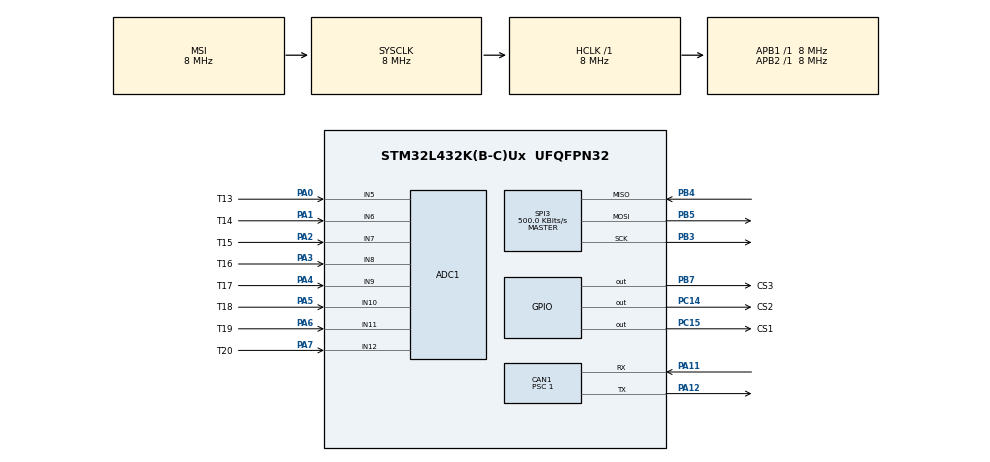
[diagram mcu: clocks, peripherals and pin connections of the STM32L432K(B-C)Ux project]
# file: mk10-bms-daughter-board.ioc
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ADC1.Channel-1\#ChannelRegularConversion=ADC_CHANNEL_5
ADC1.Channel-2\#ChannelRegularConversion=ADC_CHANNEL_6
ADC1.Channel-3\#ChannelRegularConversion=ADC_CHANNEL_7
ADC1.Channel-4\#ChannelRegularConversion=ADC_CHANNEL_8
ADC1.Channel-5\#ChannelRegularConversion=ADC_CHANNEL_9
ADC1.Channel-6\#ChannelRegularConversion=ADC_CHANNEL_10
ADC1.Channel-7\#ChannelRegularConversion=ADC_CHANNEL_11
ADC1.Channel-8\#ChannelRegularConversion=ADC_CHANNEL_12
ADC1.ContinuousConvMode=DISABLE
ADC1.DMAContinuousRequests=DISABLE
ADC1.EOCSelection=ADC_EOC_SINGLE_CONV
ADC1.NbrOfConversion=8
ADC1.NbrOfConversionFlag=1
ADC1.OffsetNumber-1\#ChannelRegularConversion=ADC_OFFSET_NONE
ADC1.OffsetNumber-2\#ChannelRegularConversion=ADC_OFFSET_NONE
ADC1.OffsetNumber-3\#ChannelRegularConversion=ADC_OFFSET_NONE
ADC1.OffsetNumber-4\#ChannelRegularConversion=ADC_OFFSET_NONE
ADC1.OffsetNumber-5\#ChannelRegularConversion=ADC_OFFSET_NONE
ADC1.OffsetNumber-6\#ChannelRegularConversion=ADC_OFFSET_NONE
ADC1.OffsetNumber-7\#ChannelRegularConversion=ADC_OFFSET_NONE
ADC1.OffsetNumber-8\#ChannelRegularConversion=ADC_OFFSET_NONE
ADC1.Rank-1\#ChannelRegularConversion=1
ADC1.Rank-2\#ChannelRegularConversion=2
ADC1.Rank-3\#ChannelRegularConversion=3
ADC1.Rank-4\#ChannelRegularConversion=4
ADC1.Rank-5\#ChannelRegularConversion=5
ADC1.Rank-6\#ChannelRegularConversion=6
ADC1.Rank-7\#ChannelRegularConversion=7
ADC1.Rank-8\#ChannelRegularConversion=8
ADC1.SamplingTime-1\#ChannelRegularConversion=ADC_SAMPLETIME_2CYCLES_5
ADC1.SamplingTime-2\#ChannelRegularConversion=ADC_SAMPLETIME_2CYCLES_5
ADC1.SamplingTime-3\#ChannelRegularConversion=ADC_SAMPLETIME_2CYCLES_5
ADC1.SamplingTime-4\#ChannelRegularConversion=ADC_SAMPLETIME_2CYCLES_5
ADC1.SamplingTime-5\#ChannelRegularConversion=ADC_SAMPLETIME_2CYCLES_5
ADC1.SamplingTime-6\#ChannelRegularConversion=ADC_SAMPLETIME_2CYCLES_5
ADC1.SamplingTime-7\#ChannelRegularConversion=ADC_SAMPLETIME_2CYCLES_5
ADC1.SamplingTime-8\#ChannelRegularConversion=ADC_SAMPLETIME_2CYCLES_5
ADC1.master=1
CAN1.BS1=CAN_BS1_13TQ
CAN1.BS2=CAN_BS2_2TQ
CAN1.CalculateBaudRate=500000
CAN1.CalculateTimeBit=2000
CAN1.CalculateTimeQuantum=125.0
CAN1.Prescaler=1
Dma.ADC1.0.Direction=DMA_PERIPH_TO_MEMORY
Dma.ADC1.0.Instance=DMA1_Channel1
Dma.ADC1.0.MemDataAlignment=DMA_MDATAALIGN_HALFWORD
Dma.ADC1.0.MemInc=DMA_MINC_ENABLE
Dma.ADC1.0.Mode=DMA_CIRCULAR
Dma.ADC1.0.PeriphDataAlignment=DMA_PDATAALIGN_HALFWORD
Dma.ADC1.0.PeriphInc=DMA_PINC_DISABLE
Dma.ADC1.0.Priority=DMA_PRIORITY_LOW
Dma.Request0=ADC1
Mcu.Family=STM32L4
Mcu.Name=STM32L432K(B-C)Ux
Mcu.Package=UFQFPN32
NVIC.DMA1_Channel1_IRQn=true\:0\:0\:false\:false\:true\:false\:true\:true
NVIC.PriorityGroup=NVIC_PRIORITYGROUP_4
PA0.GPIO_Label=T13
PA0.Signal=ADCx_IN5
PA1.GPIO_Label=T14
PA1.Signal=ADCx_IN6
PA11.GPIO_PuPd=GPIO_PULLUP
PA11.Mode=CAN_Activate
PA11.Signal=CAN1_RX
PA12.Mode=CAN_Activate
PA12.Signal=CAN1_TX
PA2.GPIO_Label=T15
PA2.Signal=ADCx_IN7
PA3.GPIO_Label=T16
PA3.Signal=ADCx_IN8
PA4.GPIO_Label=T17
PA4.Signal=ADCx_IN9
PA5.GPIO_Label=T18
PA5.Signal=ADCx_IN10
PA6.GPIO_Label=T19
PA6.Signal=ADCx_IN11
PA7.GPIO_Label=T20
PA7.Signal=ADCx_IN12
PB3\ (JTDO-TRACESWO).Mode=Full_Duplex_Master
PB3\ (JTDO-TRACESWO).Signal=SPI3_SCK
PB4\ (NJTRST).Mode=Full_Duplex_Master
PB4\ (NJTRST).Signal=SPI3_MISO
PB5.Mode=Full_Duplex_Master
PB5.Signal=SPI3_MOSI
PB7.GPIO_Label=CS3
PB7.PinState=GPIO_PIN_SET
PB7.Signal=GPIO_Output
PC14-OSC32_IN\ (PC14).GPIO_Label=CS2
PC14-OSC32_IN\ (PC14).PinState=GPIO_PIN_SET
PC14-OSC32_IN\ (PC14).Signal=GPIO_Output
PC15-OSC32_OUT\ (PC15).GPIO_Label=CS1
PC15-OSC32_OUT\ (PC15).PinState=GPIO_PIN_SET
PC15-OSC32_OUT\ (PC15).Signal=GPIO_Output
ProjectManager.HeapSize=0x200
ProjectManager.StackSize=0x400
ProjectManager.TargetToolchain=STM32CubeIDE
RCC.ADCFreq_Value=32000000
RCC.AHBFreq_Value=8000000
RCC.APB1Freq_Value=8000000
RCC.APB1TimFreq_Value=8000000
RCC.APB2Freq_Value=8000000
RCC.APB2TimFreq_Value=8000000
RCC.CortexFreq_Value=8000000
RCC.HCLKFreq_Value=8000000
RCC.HSE_VALUE=8000000
RCC.HSI48_VALUE=48000000
RCC.HSI_VALUE=16000000
RCC.LSE_VALUE=32768
RCC.MSIClockRange=RCC_MSIRANGE_7
RCC.MSI_VALUE=8000000
RCC.SYSCLKFreq_VALUE=8000000
RCC.USBFreq_Value=32000000
RCC.VCOOutputFreq_Value=64000000
SH.ADCx_IN10.0=ADC1_IN10,IN10-Single-Ended
SH.ADCx_IN11.0=ADC1_IN11,IN11-Single-Ended
SH.ADCx_IN12.0=ADC1_IN12,IN12-Single-Ended
SH.ADCx_IN5.0=ADC1_IN5,IN5-Single-Ended
SH.ADCx_IN6.0=ADC1_IN6,IN6-Single-Ended
SH.ADCx_IN7.0=ADC1_IN7,IN7-Single-Ended
SH.ADCx_IN8.0=ADC1_IN8,IN8-Single-Ended
SH.ADCx_IN9.0=ADC1_IN9,IN9-Single-Ended
SPI3.BaudRatePrescaler=SPI_BAUDRATEPRESCALER_16
SPI3.CLKPhase=SPI_PHASE_2EDGE
SPI3.CLKPolarity=SPI_POLARITY_HIGH
SPI3.CalculateBaudRate=500.0 KBits/s
SPI3.DataSize=SPI_DATASIZE_8BIT
SPI3.Direction=SPI_DIRECTION_2LINES
SPI3.Mode=SPI_MODE_MASTER
SPI3.VirtualType=VM_MASTER
board=custom

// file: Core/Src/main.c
/* USER CODE BEGIN Header */
/**
  ******************************************************************************
  * @file           : main.c
  * @brief          : Main program body
  ******************************************************************************
  * @attention
  *
  * Copyright (c) 2025 STMicroelectronics.
  * All rights reserved.
  *
  * This software is licensed under terms that can be found in the LICENSE file
  * in the root directory of this software component.
  * If no LICENSE file comes with this software, it is provided AS-IS.
  *
  ******************************************************************************
  */
/* USER CODE END Header */
#include "main.h"
#include "adc.h"
#include "can.h"
#include "dma.h"
#include "spi.h"
#include "gpio.h"

/* USER CODE BEGIN Includes */
#include "voltage_calculations.h"
/* USER CODE END Includes */

/* USER CODE BEGIN PV */
DAUGHTER_CAN_CONTEXT CAN_CONTEXT;
HAL_StatusTypeDef ADDRESS_CAN_TxStatus;
HAL_StatusTypeDef THERMISTOR_CAN_TxStatus;
uint32_t mailbox;
/* USER CODE END PV */

void SystemClock_Config(void);

int main(void)
{

  /* MCU Configuration--------------------------------------------------------*/

  /* Reset of all peripherals, Initializes the Flash interface and the Systick. */
  HAL_Init();

  /* Configure the system clock */
  SystemClock_Config();

  /* Initialize all configured peripherals */
  MX_GPIO_Init();
  MX_DMA_Init();
  MX_SPI3_Init();
  MX_ADC1_Init();
  MX_CAN1_Init();
  /* USER CODE BEGIN 2 */

  HAL_CAN_Start(&hcan1);

  initMCP(&MCP1, &hspi3, CS1_PORT, CS1_PIN);
  initMCP(&MCP2, &hspi3, CS2_PORT, CS2_PIN);
  initMCP(&MCP3, &hspi3, CS3_PORT, CS3_PIN);

  CAN_CONTEXT.ADDRESS_CTXHeader.IDE = CAN_ID_EXT;
  CAN_CONTEXT.ADDRESS_CTXHeader.ExtId = J1939_ADDRESS_BROADCAST_ID;
  CAN_CONTEXT.ADDRESS_CTXHeader.RTR = CAN_RTR_DATA;
  CAN_CONTEXT.ADDRESS_CTXHeader.DLC = 8;
  formAddressDataframe(&(CAN_CONTEXT.address_broadcast_dataframe));

  CAN_CONTEXT.THERMISTOR_CTXHeader.ExtId = THERMISTOR_BMS_DEFAULT_BROADCAST_ID + (MODULE_NUMBER-1);
//  CAN_CONTEXT.THERMISTOR_CTXHeader.ExtId = THERMISTOR_BMS_DEFAULT_BROADCAST_ID;
  CAN_CONTEXT.THERMISTOR_CTXHeader.IDE = CAN_ID_EXT;
  CAN_CONTEXT.THERMISTOR_CTXHeader.RTR = CAN_RTR_DATA;
  CAN_CONTEXT.THERMISTOR_CTXHeader.DLC = 8;

  // Now, add a startup function to compute which temps are "broken"
  // Store the ID's or indices of the broken temps
  moduleStartup();

  /* USER CODE END 2 */

  /* Infinite loop */
  /* USER CODE BEGIN WHILE */
  while (1)
  {
	  // This dataframe is constant, so need to reform it, sent every 200 ms
	  ADDRESS_CAN_TxStatus = HAL_CAN_AddTxMessage(&hcan1,
			  &CAN_CONTEXT.ADDRESS_CTXHeader, CAN_CONTEXT.address_broadcast_dataframe.array, &mailbox);

	  // Meanwhile, thermistor dataframe is sent every 100ms, needs to be recomputed
	  formThermistorDataframe(&(CAN_CONTEXT.thermistor_broadcast_dataframe));
	  THERMISTOR_CAN_TxStatus = HAL_CAN_AddTxMessage(&hcan1, &CAN_CONTEXT.THERMISTOR_CTXHeader,
			  CAN_CONTEXT.thermistor_broadcast_dataframe.array, &mailbox);
	  HAL_Delay(100);

	  formThermistorDataframe(&(CAN_CONTEXT.thermistor_broadcast_dataframe));
	  THERMISTOR_CAN_TxStatus = HAL_CAN_AddTxMessage(&hcan1, &CAN_CONTEXT.THERMISTOR_CTXHeader,
			  CAN_CONTEXT.thermistor_broadcast_dataframe.array, &mailbox);
	  HAL_Delay(100);
    /* USER CODE END WHILE */

  }
}

void SystemClock_Config(void)
{
  RCC_OscInitTypeDef RCC_OscInitStruct = {0};
  RCC_ClkInitTypeDef RCC_ClkInitStruct = {0};

  /** Configure the main internal regulator output voltage
  */
  if (HAL_PWREx_ControlVoltageScaling(PWR_REGULATOR_VOLTAGE_SCALE1) != HAL_OK)
  {
    Error_Handler();
  }

  /** Initializes the RCC Oscillators according to the specified parameters
  * in the RCC_OscInitTypeDef structure.
  */
  RCC_OscInitStruct.OscillatorType = RCC_OSCILLATORTYPE_MSI;
  RCC_OscInitStruct.MSIState = RCC_MSI_ON;
  RCC_OscInitStruct.MSICalibrationValue = 0;
  RCC_OscInitStruct.MSIClockRange = RCC_MSIRANGE_7;
  RCC_OscInitStruct.PLL.PLLState = RCC_PLL_NONE;
  if (HAL_RCC_OscConfig(&RCC_OscInitStruct) != HAL_OK)
  {
    Error_Handler();
  }

  /** Initializes the CPU, AHB and APB buses clocks
  */
  RCC_ClkInitStruct.ClockType = RCC_CLOCKTYPE_HCLK|RCC_CLOCKTYPE_SYSCLK
                              |RCC_CLOCKTYPE_PCLK1|RCC_CLOCKTYPE_PCLK2;
  RCC_ClkInitStruct.SYSCLKSource = RCC_SYSCLKSOURCE_MSI;
  RCC_ClkInitStruct.AHBCLKDivider = RCC_SYSCLK_DIV1;
  RCC_ClkInitStruct.APB1CLKDivider = RCC_HCLK_DIV1;
  RCC_ClkInitStruct.APB2CLKDivider = RCC_HCLK_DIV1;

  if (HAL_RCC_ClockConfig(&RCC_ClkInitStruct, FLASH_LATENCY_0) != HAL_OK)
  {
    Error_Handler();
  }
}

void Error_Handler(void)
{
  __disable_irq();
  while (1)
  {
  }
}
